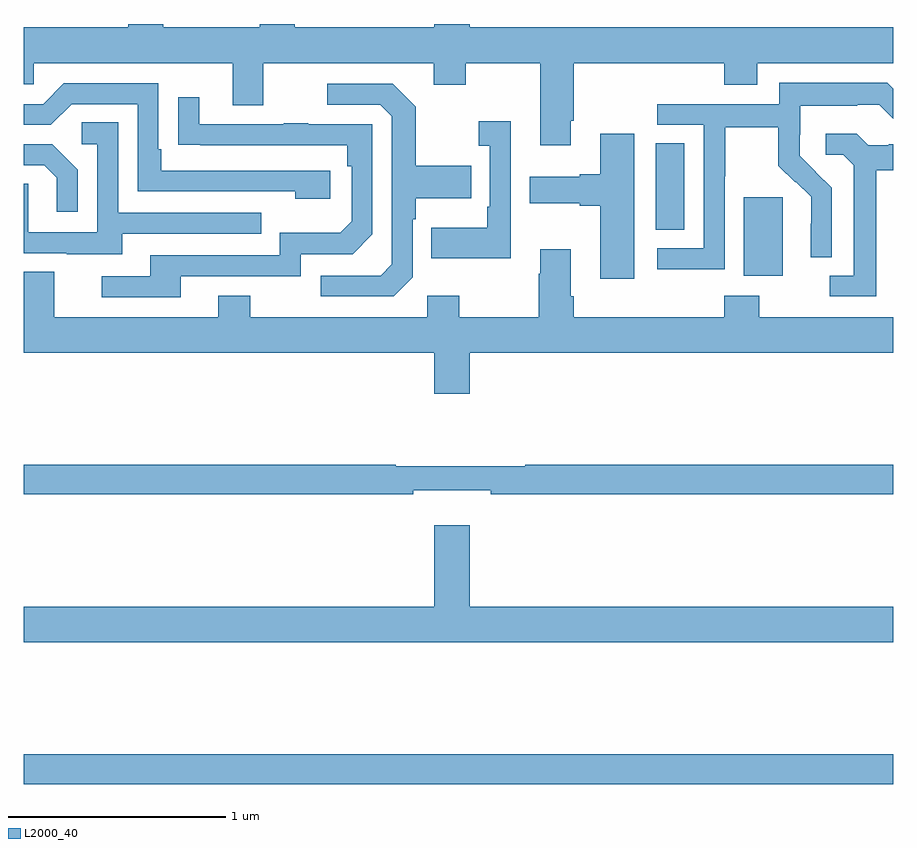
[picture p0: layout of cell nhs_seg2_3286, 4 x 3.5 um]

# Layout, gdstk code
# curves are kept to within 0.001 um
import gdstk
lib = gdstk.Library(unit=1e-6, precision=1e-09)
def R(c, l, rs):  # rectangles x0, y0, x1, y1
    for r in rs: c.add(gdstk.rectangle(r[:2], r[2:], *l))
def P(c, l, *ps):  # polygons
    for p in ps: c.add(gdstk.Polygon(p, *l))
L2000_40 = (2000, 40)

nhs_seg2_3286 = lib.new_cell('nhs_seg2_3286')
R(nhs_seg2_3286, L2000_40, [(283,660.304,287,660.44), (286.313,662.642,286.492,663.003), (285.908,662.854,286.039,663.251)])
P(nhs_seg2_3286, L2000_40, [(285.517,663.355),(285.53,663.355),(285.53,663.62),(286.223,663.62),(286.223,663.521),(286.375,663.521),(286.375,663.62),(287,663.62),(287,663.784),(285.052,663.784),(285.052,663.8),(284.888,663.8),(284.888,663.784),(284.246,663.784),(284.246,663.8),(284.086,663.8),(284.086,663.784),(283.641,663.784),(283.641,663.8),(283.481,663.8),(283.481,663.784),(283,663.784),(283,663.522),(283.047,663.522),(283.047,663.62),(283.961,663.62),(283.961,663.426),(284.101,663.426),(284.101,663.62),(284.885,663.62),(284.885,663.521),(285.033,663.521),(285.033,663.62),(285.377,663.62),(285.377,663.243),(285.517,663.243)],
  [(286.224,663.1),(286.227,663.1),(286.227,663.324),(286.471,663.324),(286.471,663.149),(286.548,663.072),(286.551,663.075),(286.622,663.005),(286.622,662.882),(286.62,662.882),(286.62,662.728),(286.716,662.728),(286.716,663.046),(286.57,663.194),(286.57,663.291),(286.572,663.291),(286.572,663.425),(286.835,663.425),(286.835,663.429),(286.935,663.429),(287,663.364),(287,663.502),(286.973,663.529),(286.476,663.529),(286.476,663.432),(285.915,663.432),(285.915,663.336),(286.128,663.336),(286.128,662.769),(285.915,662.769),(285.915,662.671),(286.224,662.671)],
  [(284.41,663.126),(283.633,663.126),(283.633,663.223),(283.62,663.223),(283.62,663.528),(283.185,663.528),(283.089,663.432),(283,663.432),(283,663.336),(283.125,663.336),(283.221,663.432),(283.524,663.432),(283.524,663.03),(284.249,663.03),(284.249,662.996),(284.41,662.996)],
  [(284.79,662.634),(284.79,662.903),(284.803,662.903),(284.803,662.999),(285.059,662.999),(285.059,663.147),(284.803,663.147),(284.803,663.419),(284.697,663.525),(284.397,663.525),(284.397,663.429),(284.64,663.429),(284.694,663.375),(284.694,662.694),(284.643,662.643),(284.367,662.643),(284.367,662.547),(284.703,662.547)],
  [(283.723,662.64),(284.274,662.64),(284.274,662.742),(284.514,662.742),(284.604,662.832),(284.604,663.339),(284.309,663.339),(284.309,663.344),(284.197,663.344),(284.197,663.339),(283.807,663.339),(283.807,663.463),(283.711,663.463),(283.711,663.244),(284.488,663.243),(284.488,663.146),(284.508,663.146),(284.508,662.892),(284.455,662.839),(284.178,662.839),(284.178,662.736),(283.583,662.736),(283.583,662.64),(283.359,662.64),(283.359,662.544),(283.723,662.544)],
  [(285.24,663.352),(285.093,663.352),(285.093,663.239),(285.144,663.239),(285.144,662.959),(285.132,662.959),(285.132,662.863),(284.875,662.863),(284.875,662.723),(285.24,662.723)],
  [(283.453,662.835),(284.093,662.835),(284.093,662.931),(283.434,662.931),(283.434,663.347),(283.266,663.347),(283.266,663.246),(283.338,663.246),(283.338,662.841),(283.02,662.841),(283.02,663.065),(283,663.065),(283,662.745),(283.199,662.745),(283.199,662.741),(283.453,662.741)],
  [(285.808,663.295),(285.653,663.295),(285.653,663.11),(285.557,663.11),(285.557,663.097),(285.327,663.097),(285.327,662.975),(285.557,662.975),(285.557,662.963),(285.653,662.963),(285.653,662.628),(285.808,662.628)],
  [(286.921,663.128),(287,663.128),(287,663.246),(286.978,663.246),(286.978,663.243),(286.884,663.243),(286.832,663.295),(286.689,663.295),(286.689,663.198),(286.77,663.198),(286.817,663.151),(286.817,662.643),(286.707,662.643),(286.707,662.547),(286.921,662.547)],
  [(283.248,663.13),(283.132,663.246),(283,663.246),(283,663.15),(283.094,663.15),(283.151,663.093),(283.151,662.937),(283.248,662.937)],
  [(285.052,662.288),(287,662.288),(287,662.452),(286.383,662.452),(286.383,662.551),(286.223,662.551),(286.223,662.452),(285.53,662.452),(285.53,662.548),(285.517,662.548),(285.517,662.764),(285.377,662.764),(285.377,662.651),(285.37,662.651),(285.37,662.452),(285.003,662.452),(285.003,662.551),(284.856,662.551),(284.856,662.452),(284.043,662.452),(284.043,662.551),(283.895,662.551),(283.895,662.452),(283.141,662.452),(283.141,662.66),(283.001,662.66),(283.001,662.452),(283,662.452),(283,662.288),(284.888,662.288),(284.888,662.1),(285.052,662.1)],
  [(284.792,661.655),(285.148,661.655),(285.148,661.636),(287,661.636),(287,661.772),(285.308,661.772),(285.308,661.765),(284.711,661.765),(284.711,661.772),(283,661.772),(283,661.636),(284.792,661.636)],
  [(287,661.12),(285.052,661.12),(285.052,661.495),(284.888,661.495),(284.888,661.12),(283,661.12),(283,660.956),(287,660.956)])

lib.write_gds('nhs_seg2_3286.gds')
